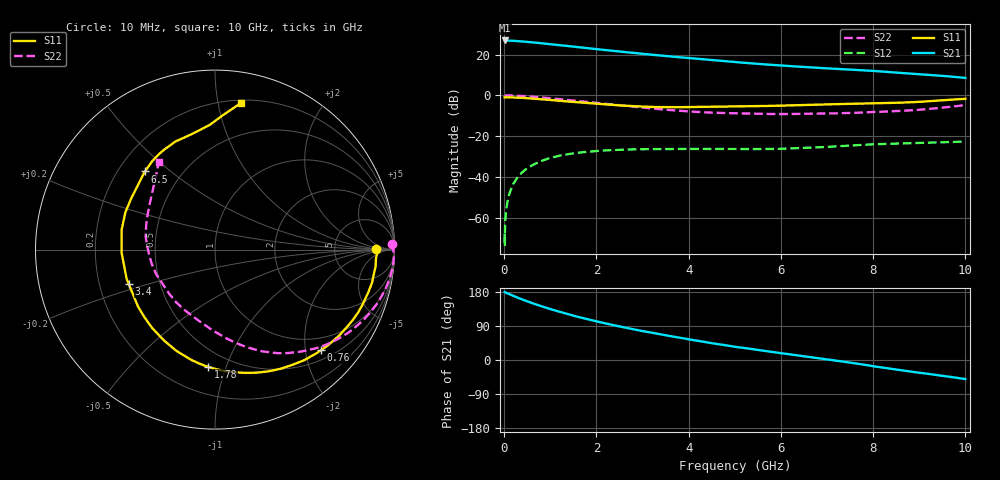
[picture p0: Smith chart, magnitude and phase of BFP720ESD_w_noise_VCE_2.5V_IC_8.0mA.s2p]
! Infineon Technologies  Discrete & RF Semiconductors
! BFP720ESD
! VCE =  2.5 V,  IC =  8.0 mA
! Common Emitter S-Parameters:  Jan 2016
# GHz  S  MA  R  50
!  f  S11  S21  S12  S22
! GHz  MAG  ANG  MAG  ANG  MAG  ANG  MAG  ANG
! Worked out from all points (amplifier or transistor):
!   233 points, 10 MHz to 10 GHz, reference 50 ohm
!   highest |S21| = 27.0 dB at 10 MHz (marker M1)
!   |S21| within 3 dB of that: start of sweep to 1.487 GHz
!   unconditionally stable (mu >= 1): 5.343 GHz to 9.085 GHz
!   at 200 MHz: K = 0.07, MSG = 35.1 dB, |S12| = -43.3 dB
!   at 1.74 GHz: K = 0.34, MSG = 25.6 dB, |S12| = -27.8 dB
!   at 10 GHz: K = 0.71, MSG = 15.6 dB, |S12| = -22.7 dB
!   lowest NFmin = 0.62 dB at 450 MHz
!   S11 on the Smith chart (normalised r, x): 10 MHz: 19, +1; 760 MHz: 0.70, -2.33; 1.78 GHz: 0.38, -0.87; 3.4 GHz: 0.33, -0.17; 6.5 GHz: 0.31, +0.41; 10 GHz: 0.23, +1.16
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0.01  0.8981 0.3  22.34 179.3  0.0004 -67.8  0.9892 1.8
0.015  0.9009 -0.5  22.24 178.9  0.0002 56.6  0.9917 0.7
0.025  0.9028 -1.5  22.13 178.2  0.0009 85.9  0.9949 -0.6
0.105  0.8991 -6.2  22.12 174.3  0.0036 86.3  0.9964 -4.0
0.24  0.8889 -14.4  21.69 167.0  0.0081 81.2  0.986 -9.3
0.36  0.8754 -21.4  21.25 161.2  0.0119 76.6  0.9715 -13.8
0.6  0.841 -34.9  20.1 150.2  0.0191 68.4  0.9323 -22.2
0.76  0.8141 -43.5  19.31 143.8  0.0235 63.3  0.9019 -27.5
0.96  0.78 -54.1  18.34 135.9  0.0283 57.3  0.8618 -33.8
1.2  0.7402 -66.5  17.2 127.0  0.0332 50.9  0.8118 -41.0
1.68  0.6675 -88.9  14.98 111.2  0.0401 39.7  0.7155 -53.4
1.78  0.6549 -93.2  14.53 108.3  0.0412 37.9  0.6979 -55.7
2.2  0.6035 -111.0  12.97 96.4  0.0449 30.5  0.6249 -65.1
2.58  0.5633 -126.9  11.72 86.4  0.0469 24.7  0.5612 -73.3
3  0.5338 -143.4  10.51 76.2  0.048 19.6  0.5016 -82.2
3.4  0.5173 -158.0  9.5 67.5  0.0483 16.2  0.4569 -90.1
4  0.5206 -178.1  8.296 54.5  0.0487 12.2  0.4061 -103.0
5.1  0.541 155.6  6.462 33.4  0.0484 8.3  0.3623 -128.1
6.5  0.5849 131.9  4.994 9.7  0.0514 9.3  0.3553 -157.3
6.8  0.5959 127.8  4.758 4.9  0.0533 9.4  0.3576 -163.2
8.4  0.6535 102.5  3.702 -23.4  0.0653 2.7  0.4081 159.8
10  0.8275 80.1  2.691 -50.4  0.0737 -6.4  0.5785 122.8
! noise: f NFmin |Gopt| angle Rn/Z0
0.45  0.62  0.34  4  0.12
0.9  0.66  0.33  11  0.14
1.9  0.68  0.28  27  0.13
2.4  0.71  0.26  32  0.13
5.5  0.88  0.04  109  0.09
10  1.4  0.52  -95  0.36
